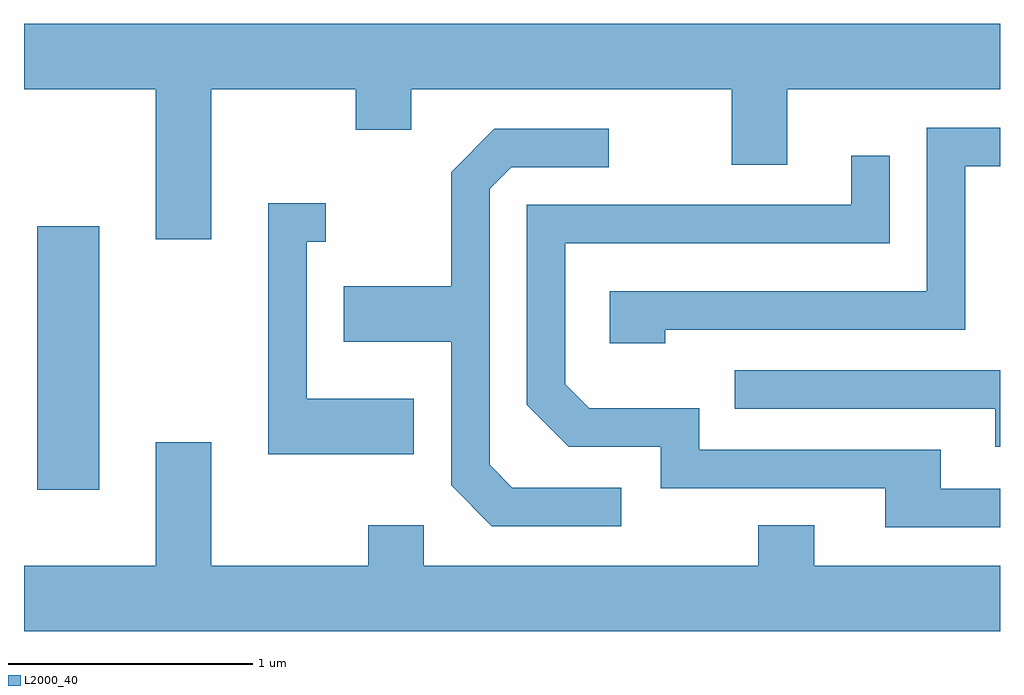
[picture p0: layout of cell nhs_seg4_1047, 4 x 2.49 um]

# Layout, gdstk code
import gdstk
lib = gdstk.Library(unit=1e-6, precision=1e-09)
def R(c, l, rs):  # rectangles x0, y0, x1, y1
    for r in rs: c.add(gdstk.rectangle(r[:2], r[2:], *l))
def P(c, l, *ps):  # polygons
    for p in ps: c.add(gdstk.Polygon(p, *l))
L2000_40 = (2000, 40)

nhs_seg4_1047 = lib.new_cell('nhs_seg4_1047')
R(nhs_seg4_1047, L2000_40, [(215.666,1308.636,215.919,1309.714)])
P(nhs_seg4_1047, L2000_40, [(216.379,1310.276),(216.971,1310.276),(216.971,1310.111),(217.199,1310.111),(217.199,1310.276),(218.511,1310.276),(218.511,1309.966),(218.739,1309.966),(218.739,1310.276),(219.611,1310.276),(219.611,1310.544),(215.611,1310.544),(215.611,1310.276),(216.151,1310.276),(216.151,1309.661),(216.379,1309.661)],
  [(218.239,1309.291),(219.469,1309.291),(219.469,1309.961),(219.611,1309.961),(219.611,1310.119),(219.311,1310.119),(219.311,1309.449),(218.011,1309.449),(218.011,1309.236),(218.239,1309.236)],
  [(218.058,1308.644),(217.612,1308.644),(217.519,1308.737),(217.519,1309.869),(217.607,1309.956),(218.008,1309.956),(218.008,1310.114),(217.539,1310.114),(217.361,1309.937),(217.361,1309.469),(216.921,1309.469),(216.921,1309.241),(217.361,1309.241),(217.361,1308.654),(217.529,1308.486),(218.058,1308.486)],
  [(219.611,1308.639),(219.369,1308.639),(219.369,1308.799),(218.379,1308.799),(218.379,1308.969),(217.927,1308.969),(217.829,1309.067),(217.829,1309.646),(219.159,1309.646),(219.159,1310.003),(219.001,1310.003),(219.001,1309.804),(217.671,1309.804),(217.671,1308.984),(217.844,1308.811),(218.221,1308.811),(218.221,1308.641),(219.141,1308.641),(219.141,1308.481),(219.611,1308.481)],
  [(217.209,1309.009),(216.769,1309.009),(216.769,1309.651),(216.848,1309.651),(216.848,1309.809),(216.611,1309.809),(216.611,1308.781),(217.209,1308.781)],
  [(219.611,1309.124),(218.523,1309.124),(218.523,1308.966),(219.591,1308.966),(219.591,1308.811),(219.611,1308.811)],
  [(219.611,1308.324),(218.849,1308.324),(218.849,1308.489),(218.621,1308.489),(218.621,1308.324),(217.249,1308.324),(217.249,1308.489),(217.021,1308.489),(217.021,1308.324),(216.379,1308.324),(216.379,1308.829),(216.151,1308.829),(216.151,1308.324),(215.611,1308.324),(215.611,1308.056),(219.611,1308.056)])

lib.write_gds('nhs_seg4_1047.gds')
